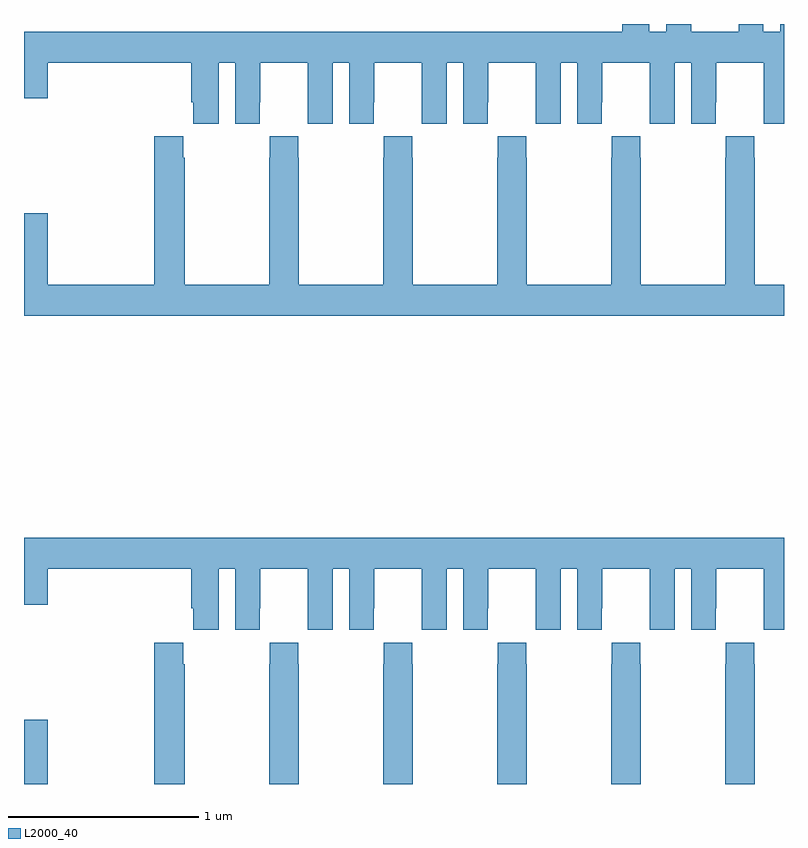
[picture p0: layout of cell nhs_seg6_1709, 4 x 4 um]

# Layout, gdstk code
import gdstk
lib = gdstk.Library(unit=1e-6, precision=1e-09)
def R(c, l, rs):  # rectangles x0, y0, x1, y1
    for r in rs: c.add(gdstk.rectangle(r[:2], r[2:], *l))
def P(c, l, *ps):  # polygons
    for p in ps: c.add(gdstk.Polygon(p, *l))
L2000_40 = (2000, 40)

nhs_seg6_1709 = lib.new_cell('nhs_seg6_1709')
R(nhs_seg6_1709, L2000_40, [(213,983.5,213.124,983.839)])
P(nhs_seg6_1709, L2000_40, [(216.893,987.088),(216.894,987.088),(216.894,986.976),(217,986.976),(217,987.5),(216.98,987.5),(216.98,987.46),(216.892,987.46),(216.892,987.5),(216.761,987.5),(216.761,987.46),(216.511,987.46),(216.511,987.5),(216.38,987.5),(216.38,987.46),(216.292,987.46),(216.292,987.5),(216.149,987.5),(216.149,987.46),(213,987.46),(213,987.108),(213.124,987.108),(213.124,987.296),(213.881,987.296),(213.881,987.088),(213.89,987.088),(213.89,986.976),(214.024,986.976),(214.024,987.296),(214.112,987.296),(214.112,986.976),(214.242,986.976),(214.242,987.088),(214.243,987.088),(214.243,987.296),(214.493,987.296),(214.493,987.088),(214.494,987.088),(214.494,986.976),(214.624,986.976),(214.624,987.296),(214.712,987.296),(214.712,986.976),(214.842,986.976),(214.842,987.088),(214.843,987.088),(214.843,987.296),(215.093,987.296),(215.093,987.088),(215.094,987.088),(215.094,986.976),(215.224,986.976),(215.224,987.296),(215.312,987.296),(215.312,986.976),(215.442,986.976),(215.442,987.088),(215.443,987.088),(215.443,987.296),(215.693,987.296),(215.693,987.088),(215.694,987.088),(215.694,986.976),(215.824,986.976),(215.824,987.296),(215.912,987.296),(215.912,986.976),(216.042,986.976),(216.042,987.088),(216.043,987.088),(216.043,987.296),(216.293,987.296),(216.293,987.088),(216.294,987.088),(216.294,986.976),(216.424,986.976),(216.424,987.296),(216.512,987.296),(216.512,986.976),(216.642,986.976),(216.642,987.088),(216.643,987.088),(216.643,987.296),(216.893,987.296)],
  [(217,986.128),(216.846,986.128),(216.846,986.795),(216.843,986.795),(216.843,986.908),(216.693,986.908),(216.693,986.795),(216.691,986.795),(216.691,986.128),(216.246,986.128),(216.246,986.795),(216.243,986.795),(216.243,986.908),(216.093,986.908),(216.093,986.795),(216.091,986.795),(216.091,986.128),(215.646,986.128),(215.646,986.795),(215.643,986.795),(215.643,986.908),(215.493,986.908),(215.493,986.795),(215.491,986.795),(215.491,986.128),(215.046,986.128),(215.046,986.795),(215.043,986.795),(215.043,986.908),(214.893,986.908),(214.893,986.795),(214.891,986.795),(214.891,986.128),(214.446,986.128),(214.446,986.795),(214.443,986.795),(214.443,986.908),(214.293,986.908),(214.293,986.795),(214.291,986.795),(214.291,986.128),(213.846,986.128),(213.846,986.795),(213.839,986.795),(213.839,986.908),(213.686,986.908),(213.686,986.128),(213.124,986.128),(213.124,986.503),(213,986.503),(213,985.964),(217,985.964)],
  [(213,984.444),(213.124,984.444),(213.124,984.632),(213.881,984.632),(213.881,984.424),(213.89,984.424),(213.89,984.312),(214.024,984.312),(214.024,984.632),(214.112,984.632),(214.112,984.312),(214.242,984.312),(214.242,984.424),(214.243,984.424),(214.243,984.632),(214.493,984.632),(214.493,984.424),(214.494,984.424),(214.494,984.312),(214.624,984.312),(214.624,984.632),(214.712,984.632),(214.712,984.312),(214.842,984.312),(214.842,984.424),(214.843,984.424),(214.843,984.632),(215.093,984.632),(215.093,984.424),(215.094,984.424),(215.094,984.312),(215.224,984.312),(215.224,984.632),(215.312,984.632),(215.312,984.312),(215.442,984.312),(215.442,984.424),(215.443,984.424),(215.443,984.632),(215.693,984.632),(215.693,984.424),(215.694,984.424),(215.694,984.312),(215.824,984.312),(215.824,984.632),(215.912,984.632),(215.912,984.312),(216.042,984.312),(216.042,984.424),(216.043,984.424),(216.043,984.632),(216.293,984.632),(216.293,984.424),(216.294,984.424),(216.294,984.312),(216.424,984.312),(216.424,984.632),(216.512,984.632),(216.512,984.312),(216.642,984.312),(216.642,984.424),(216.643,984.424),(216.643,984.632),(216.893,984.632),(216.893,984.424),(216.894,984.424),(216.894,984.312),(217,984.312),(217,984.796),(213,984.796)],
  [(214.446,984.131),(214.443,984.131),(214.443,984.244),(214.293,984.244),(214.293,984.131),(214.291,984.131),(214.291,983.5),(214.446,983.5)],
  [(213.846,984.131),(213.839,984.131),(213.839,984.244),(213.686,984.244),(213.686,983.5),(213.846,983.5)],
  [(216.846,984.131),(216.843,984.131),(216.843,984.244),(216.693,984.244),(216.693,984.131),(216.691,984.131),(216.691,983.5),(216.846,983.5)],
  [(216.246,984.131),(216.243,984.131),(216.243,984.244),(216.093,984.244),(216.093,984.131),(216.091,984.131),(216.091,983.5),(216.246,983.5)],
  [(215.646,984.131),(215.643,984.131),(215.643,984.244),(215.493,984.244),(215.493,984.131),(215.491,984.131),(215.491,983.5),(215.646,983.5)],
  [(215.046,984.131),(215.043,984.131),(215.043,984.244),(214.893,984.244),(214.893,984.131),(214.891,984.131),(214.891,983.5),(215.046,983.5)])

lib.write_gds('nhs_seg6_1709.gds')
